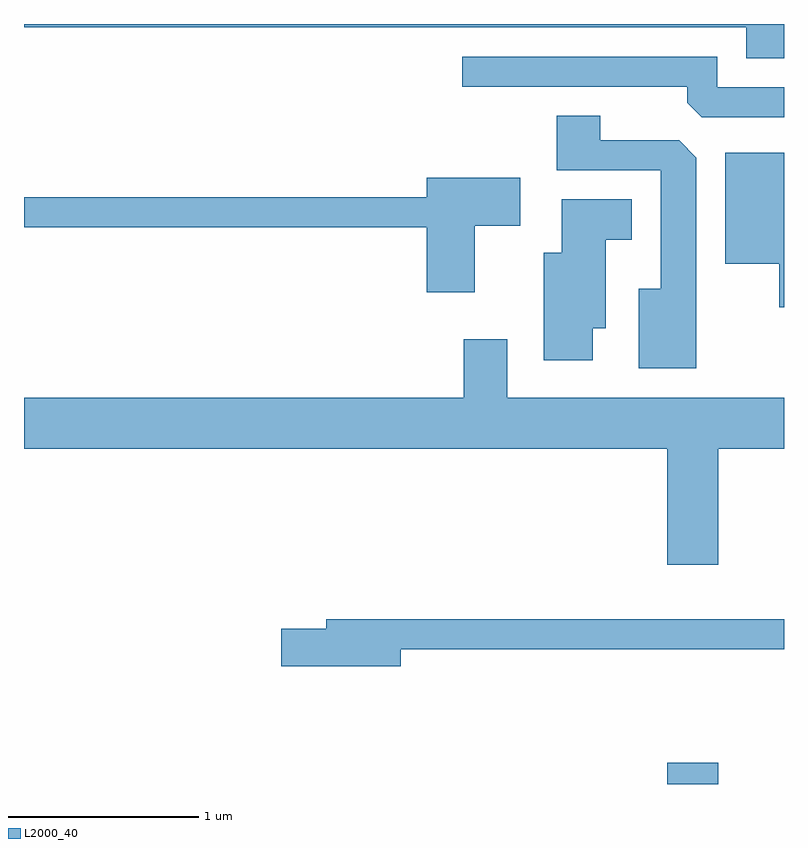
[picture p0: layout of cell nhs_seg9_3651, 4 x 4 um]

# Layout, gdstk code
import gdstk
lib = gdstk.Library(unit=1e-6, precision=1e-09)
def R(c, l, rs):  # rectangles x0, y0, x1, y1
    for r in rs: c.add(gdstk.rectangle(r[:2], r[2:], *l))
def P(c, l, *ps):  # polygons
    for p in ps: c.add(gdstk.Polygon(p, *l))
L2000_40 = (2000, 40)

nhs_seg9_3651 = lib.new_cell('nhs_seg9_3651')
R(nhs_seg9_3651, L2000_40, [(294.996,2054.432,295.264,2054.544)])
P(nhs_seg9_3651, L2000_40, [(295.611,2058.432),(291.611,2058.432),(291.611,2058.416),(295.411,2058.416),(295.411,2058.251),(295.611,2058.251)],
  [(295.611,2058.099),(295.259,2058.099),(295.259,2058.259),(293.918,2058.259),(293.918,2058.101),(295.101,2058.101),(295.101,2058.017),(295.177,2057.941),(295.611,2057.941)],
  [(295.149,2057.729),(295.059,2057.819),(294.644,2057.819),(294.644,2057.949),(294.416,2057.949),(294.416,2057.661),(294.961,2057.661),(294.961,2057.039),(294.846,2057.039),(294.846,2056.621),(295.149,2056.621)],
  [(295.611,2057.754),(295.301,2057.754),(295.301,2057.171),(295.586,2057.171),(295.586,2056.941),(295.611,2056.941)],
  [(293.984,2057.371),(294.224,2057.371),(294.224,2057.624),(293.731,2057.624),(293.731,2057.519),(291.611,2057.519),(291.611,2057.361),(293.731,2057.361),(293.731,2057.021),(293.984,2057.021)],
  [(294.604,2056.831),(294.674,2056.831),(294.674,2057.296),(294.809,2057.296),(294.809,2057.509),(294.441,2057.509),(294.441,2057.229),(294.346,2057.229),(294.346,2056.661),(294.604,2056.661)],
  [(295.264,2056.196),(295.611,2056.196),(295.611,2056.464),(294.154,2056.464),(294.154,2056.774),(293.926,2056.774),(293.926,2056.464),(291.611,2056.464),(291.611,2056.196),(294.996,2056.196),(294.996,2055.586),(295.264,2055.586)],
  [(293.594,2055.141),(295.611,2055.141),(295.611,2055.299),(293.201,2055.299),(293.201,2055.249),(292.966,2055.249),(292.966,2055.051),(293.594,2055.051)])

lib.write_gds('nhs_seg9_3651.gds')
